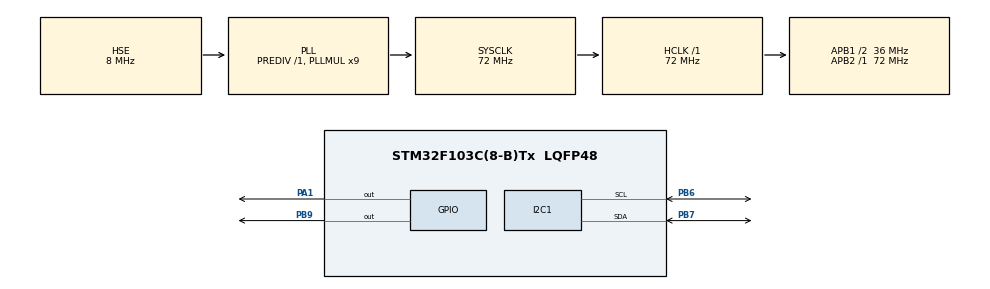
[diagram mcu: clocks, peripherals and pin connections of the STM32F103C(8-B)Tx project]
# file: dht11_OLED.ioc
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I2C1.I2C_Mode=I2C_Fast
Mcu.Family=STM32F1
Mcu.Name=STM32F103C(8-B)Tx
Mcu.Package=LQFP48
NVIC.PriorityGroup=NVIC_PRIORITYGROUP_4
PA1.Signal=GPIO_Output
PA13.Mode=Serial_Wire
PA13.Signal=SYS_JTMS-SWDIO
PA14.Mode=Serial_Wire
PA14.Signal=SYS_JTCK-SWCLK
PB6.Mode=I2C
PB6.Signal=I2C1_SCL
PB7.Mode=I2C
PB7.Signal=I2C1_SDA
PB9.Signal=GPIO_Output
PD0-OSC_IN.Mode=HSE-External-Oscillator
PD0-OSC_IN.Signal=RCC_OSC_IN
PD1-OSC_OUT.Mode=HSE-External-Oscillator
PD1-OSC_OUT.Signal=RCC_OSC_OUT
ProjectManager.HeapSize=0x200
ProjectManager.StackSize=0x400
ProjectManager.TargetToolchain=STM32CubeIDE
RCC.AHBFreq_Value=72000000
RCC.APB1CLKDivider=RCC_HCLK_DIV2
RCC.APB1Freq_Value=36000000
RCC.APB1TimFreq_Value=72000000
RCC.APB2Freq_Value=72000000
RCC.APB2TimFreq_Value=72000000
RCC.HCLKFreq_Value=72000000
RCC.PLLMUL=RCC_PLL_MUL9
RCC.PLLSourceVirtual=RCC_PLLSOURCE_HSE
RCC.SYSCLKFreq_VALUE=72000000
RCC.SYSCLKSource=RCC_SYSCLKSOURCE_PLLCLK
RCC.USBFreq_Value=72000000
VP_TIM1_VS_ClockSourceINT.Mode=Internal
board=custom

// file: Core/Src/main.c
/* USER CODE BEGIN Header */
/**
  ******************************************************************************
  * @file           : main.c
  * @brief          : Main program body
  ******************************************************************************
  * @attention
  *
  * Copyright (c) 2023 STMicroelectronics.
  * All rights reserved.
  *
  * This software is licensed under terms that can be found in the LICENSE file
  * in the root directory of this software component.
  * If no LICENSE file comes with this software, it is provided AS-IS.
  *
  ******************************************************************************
  */
/* USER CODE END Header */
#include "main.h"

/* USER CODE BEGIN Includes */
#include "ssd1306.h"
#include "fonts.h"
#include "stdlib.h"
#include "stdio.h"

/* USER CODE END Includes */

I2C_HandleTypeDef hi2c1;

TIM_HandleTypeDef htim1;

void SystemClock_Config(void);
static void MX_GPIO_Init(void);
static void MX_I2C1_Init(void);
static void MX_TIM1_Init(void);

/* USER CODE BEGIN 0 */
#define DHT11_PORT GPIOB
#define DHT11_PIN GPIO_PIN_12
uint8_t RHI, RHD, TCI, TCD, SUM;
uint32_t pMillis, cMillis;
float tCelsius = 0;
float tFahrenheit = 0;
float RH = 0;
int row=0;
int col=0;
uint8_t TFI = 0;
uint8_t TFD = 0;
char strCopy1[40];
char strCopy2[40];

void microDelay (uint16_t delay)
{
  __HAL_TIM_SET_COUNTER(&htim1, 0);
  while (__HAL_TIM_GET_COUNTER(&htim1) < delay);
}

uint8_t DHT11_Start (void)
{
  uint8_t Response = 0;
  GPIO_InitTypeDef GPIO_InitStructPrivate = {0};
  GPIO_InitStructPrivate.Pin = DHT11_PIN;
  GPIO_InitStructPrivate.Mode = GPIO_MODE_OUTPUT_PP;
  GPIO_InitStructPrivate.Speed = GPIO_SPEED_FREQ_LOW;
  GPIO_InitStructPrivate.Pull = GPIO_NOPULL;
  HAL_GPIO_Init(DHT11_PORT, &GPIO_InitStructPrivate); // set the pin as output
  HAL_GPIO_WritePin (DHT11_PORT, DHT11_PIN, 0);   // pull the pin low
  HAL_Delay(20);   // wait for 20ms
  HAL_GPIO_WritePin (DHT11_PORT, DHT11_PIN, 1);   // pull the pin high
  microDelay (30);   // wait for 30us
  GPIO_InitStructPrivate.Mode = GPIO_MODE_INPUT;
  GPIO_InitStructPrivate.Pull = GPIO_PULLUP;
  HAL_GPIO_Init(DHT11_PORT, &GPIO_InitStructPrivate); // set the pin as input
  microDelay (40);
  if (!(HAL_GPIO_ReadPin (DHT11_PORT, DHT11_PIN)))
  {
    microDelay (80);
    if ((HAL_GPIO_ReadPin (DHT11_PORT, DHT11_PIN))) Response = 1;
  }
  pMillis = HAL_GetTick();
  cMillis = HAL_GetTick();
  while ((HAL_GPIO_ReadPin (DHT11_PORT, DHT11_PIN)) && pMillis + 2 > cMillis)
  {
    cMillis = HAL_GetTick();
  }
  return Response;
}

uint8_t DHT11_Read (void)
{
  uint8_t a,b;
  for (a=0;a<8;a++)
  {
    pMillis = HAL_GetTick();
    cMillis = HAL_GetTick();
    while (!(HAL_GPIO_ReadPin (DHT11_PORT, DHT11_PIN)) && pMillis + 2 > cMillis)
    {  // wait for the pin to go high
      cMillis = HAL_GetTick();
    }
    microDelay (40);   // wait for 40 us
    if (!(HAL_GPIO_ReadPin (DHT11_PORT, DHT11_PIN)))   // if the pin is low
      b&= ~(1<<(7-a));
    else
      b|= (1<<(7-a));
    pMillis = HAL_GetTick();
    cMillis = HAL_GetTick();
    while ((HAL_GPIO_ReadPin (DHT11_PORT, DHT11_PIN)) && pMillis + 2 > cMillis)
    {  // wait for the pin to go low
      cMillis = HAL_GetTick();
    }
  }
  return b;
}
/* USER CODE END 0 */

int main(void)
{

  /* MCU Configuration--------------------------------------------------------*/

  /* Reset of all peripherals, Initializes the Flash interface and the Systick. */
  HAL_Init();

  /* Configure the system clock */
  SystemClock_Config();

  /* Initialize all configured peripherals */
  MX_GPIO_Init();
  MX_I2C1_Init();
  MX_TIM1_Init();
  /* USER CODE BEGIN 2 */
  /* USER CODE BEGIN 2 */
  HAL_TIM_Base_Start(&htim1);
  SSD1306_Init();  // initialize the OLED

  SSD1306_GotoXY (0, 0);
  SSD1306_Puts("Welcome", &Font_11x18, 1);
  SSD1306_GotoXY (0, 30);
  SSD1306_Puts("to CSE331", &Font_11x18, 1);
  SSD1306_UpdateScreen();
  HAL_Delay(2000);
  SSD1306_Clear();
  /* USER CODE END 2 */

  /* USER CODE END 2 */

  /* Infinite loop */
 while (1)
  {

    /* USER CODE BEGIN 3 */
	  if(DHT11_Start())
	      {
	        RHI = DHT11_Read(); // Relative humidity integral
	        RHD = DHT11_Read(); // Relative humidity decimal
	        TCI = DHT11_Read(); // Celsius integral
	        TCD = DHT11_Read(); // Celsius decimal
	        SUM = DHT11_Read(); // Check sum
	        if (RHI + RHD + TCI + TCD == SUM)
	        {

	          tCelsius = (float)TCI + (float)(TCD/10.0);
	          tFahrenheit = tCelsius * 9/5 + 32;
	          RH = (float)RHI + (float)(RHD/10.0);

	          SSD1306_Clear();

	                  sprintf(strCopy1,"Temp: %d.%d C", TCI, TCD);
	                  SSD1306_GotoXY(0, 0);
	                  SSD1306_Puts(strCopy1, &Font_7x10, 1);

	                  sprintf(strCopy2,"Humidity: %d.%d %%", RHI, RHD);
	                  SSD1306_GotoXY(0, 20);
	                  SSD1306_Puts(strCopy2, &Font_7x10, 1);

	                  SSD1306_UpdateScreen();

	        }

	      }
	      HAL_Delay(2000);

  }
  /* USER CODE END 3 */
}

void SystemClock_Config(void)
{
  RCC_OscInitTypeDef RCC_OscInitStruct = {0};
  RCC_ClkInitTypeDef RCC_ClkInitStruct = {0};

  /** Initializes the RCC Oscillators according to the specified parameters
  * in the RCC_OscInitTypeDef structure.
  */
  RCC_OscInitStruct.OscillatorType = RCC_OSCILLATORTYPE_HSE;
  RCC_OscInitStruct.HSEState = RCC_HSE_ON;
  RCC_OscInitStruct.HSEPredivValue = RCC_HSE_PREDIV_DIV1;
  RCC_OscInitStruct.HSIState = RCC_HSI_ON;
  RCC_OscInitStruct.PLL.PLLState = RCC_PLL_ON;
  RCC_OscInitStruct.PLL.PLLSource = RCC_PLLSOURCE_HSE;
  RCC_OscInitStruct.PLL.PLLMUL = RCC_PLL_MUL9;
  if (HAL_RCC_OscConfig(&RCC_OscInitStruct) != HAL_OK)
  {
    Error_Handler();
  }

  /** Initializes the CPU, AHB and APB buses clocks
  */
  RCC_ClkInitStruct.ClockType = RCC_CLOCKTYPE_HCLK|RCC_CLOCKTYPE_SYSCLK
                              |RCC_CLOCKTYPE_PCLK1|RCC_CLOCKTYPE_PCLK2;
  RCC_ClkInitStruct.SYSCLKSource = RCC_SYSCLKSOURCE_PLLCLK;
  RCC_ClkInitStruct.AHBCLKDivider = RCC_SYSCLK_DIV1;
  RCC_ClkInitStruct.APB1CLKDivider = RCC_HCLK_DIV2;
  RCC_ClkInitStruct.APB2CLKDivider = RCC_HCLK_DIV1;

  if (HAL_RCC_ClockConfig(&RCC_ClkInitStruct, FLASH_LATENCY_2) != HAL_OK)
  {
    Error_Handler();
  }
}

static void MX_I2C1_Init(void)
{

  hi2c1.Instance = I2C1;
  hi2c1.Init.ClockSpeed = 400000;
  hi2c1.Init.DutyCycle = I2C_DUTYCYCLE_2;
  hi2c1.Init.OwnAddress1 = 0;
  hi2c1.Init.AddressingMode = I2C_ADDRESSINGMODE_7BIT;
  hi2c1.Init.DualAddressMode = I2C_DUALADDRESS_DISABLE;
  hi2c1.Init.OwnAddress2 = 0;
  hi2c1.Init.GeneralCallMode = I2C_GENERALCALL_DISABLE;
  hi2c1.Init.NoStretchMode = I2C_NOSTRETCH_DISABLE;
  if (HAL_I2C_Init(&hi2c1) != HAL_OK)
  {
    Error_Handler();
  }

}

static void MX_TIM1_Init(void)
{

  TIM_ClockConfigTypeDef sClockSourceConfig = {0};
  TIM_MasterConfigTypeDef sMasterConfig = {0};

  htim1.Instance = TIM1;
  htim1.Init.Prescaler = 71;
  htim1.Init.CounterMode = TIM_COUNTERMODE_UP;
  htim1.Init.Period = 65535;
  htim1.Init.ClockDivision = TIM_CLOCKDIVISION_DIV1;
  htim1.Init.RepetitionCounter = 0;
  htim1.Init.AutoReloadPreload = TIM_AUTORELOAD_PRELOAD_DISABLE;
  if (HAL_TIM_Base_Init(&htim1) != HAL_OK)
  {
    Error_Handler();
  }
  sClockSourceConfig.ClockSource = TIM_CLOCKSOURCE_INTERNAL;
  if (HAL_TIM_ConfigClockSource(&htim1, &sClockSourceConfig) != HAL_OK)
  {
    Error_Handler();
  }
  sMasterConfig.MasterOutputTrigger = TIM_TRGO_RESET;
  sMasterConfig.MasterSlaveMode = TIM_MASTERSLAVEMODE_DISABLE;
  if (HAL_TIMEx_MasterConfigSynchronization(&htim1, &sMasterConfig) != HAL_OK)
  {
    Error_Handler();
  }

}

static void MX_GPIO_Init(void)
{

  /* GPIO Ports Clock Enable */
  __HAL_RCC_GPIOD_CLK_ENABLE();
  __HAL_RCC_GPIOA_CLK_ENABLE();
  __HAL_RCC_GPIOB_CLK_ENABLE();

}

void Error_Handler(void)
{
  __disable_irq();
  while (1)
  {
  }
}
